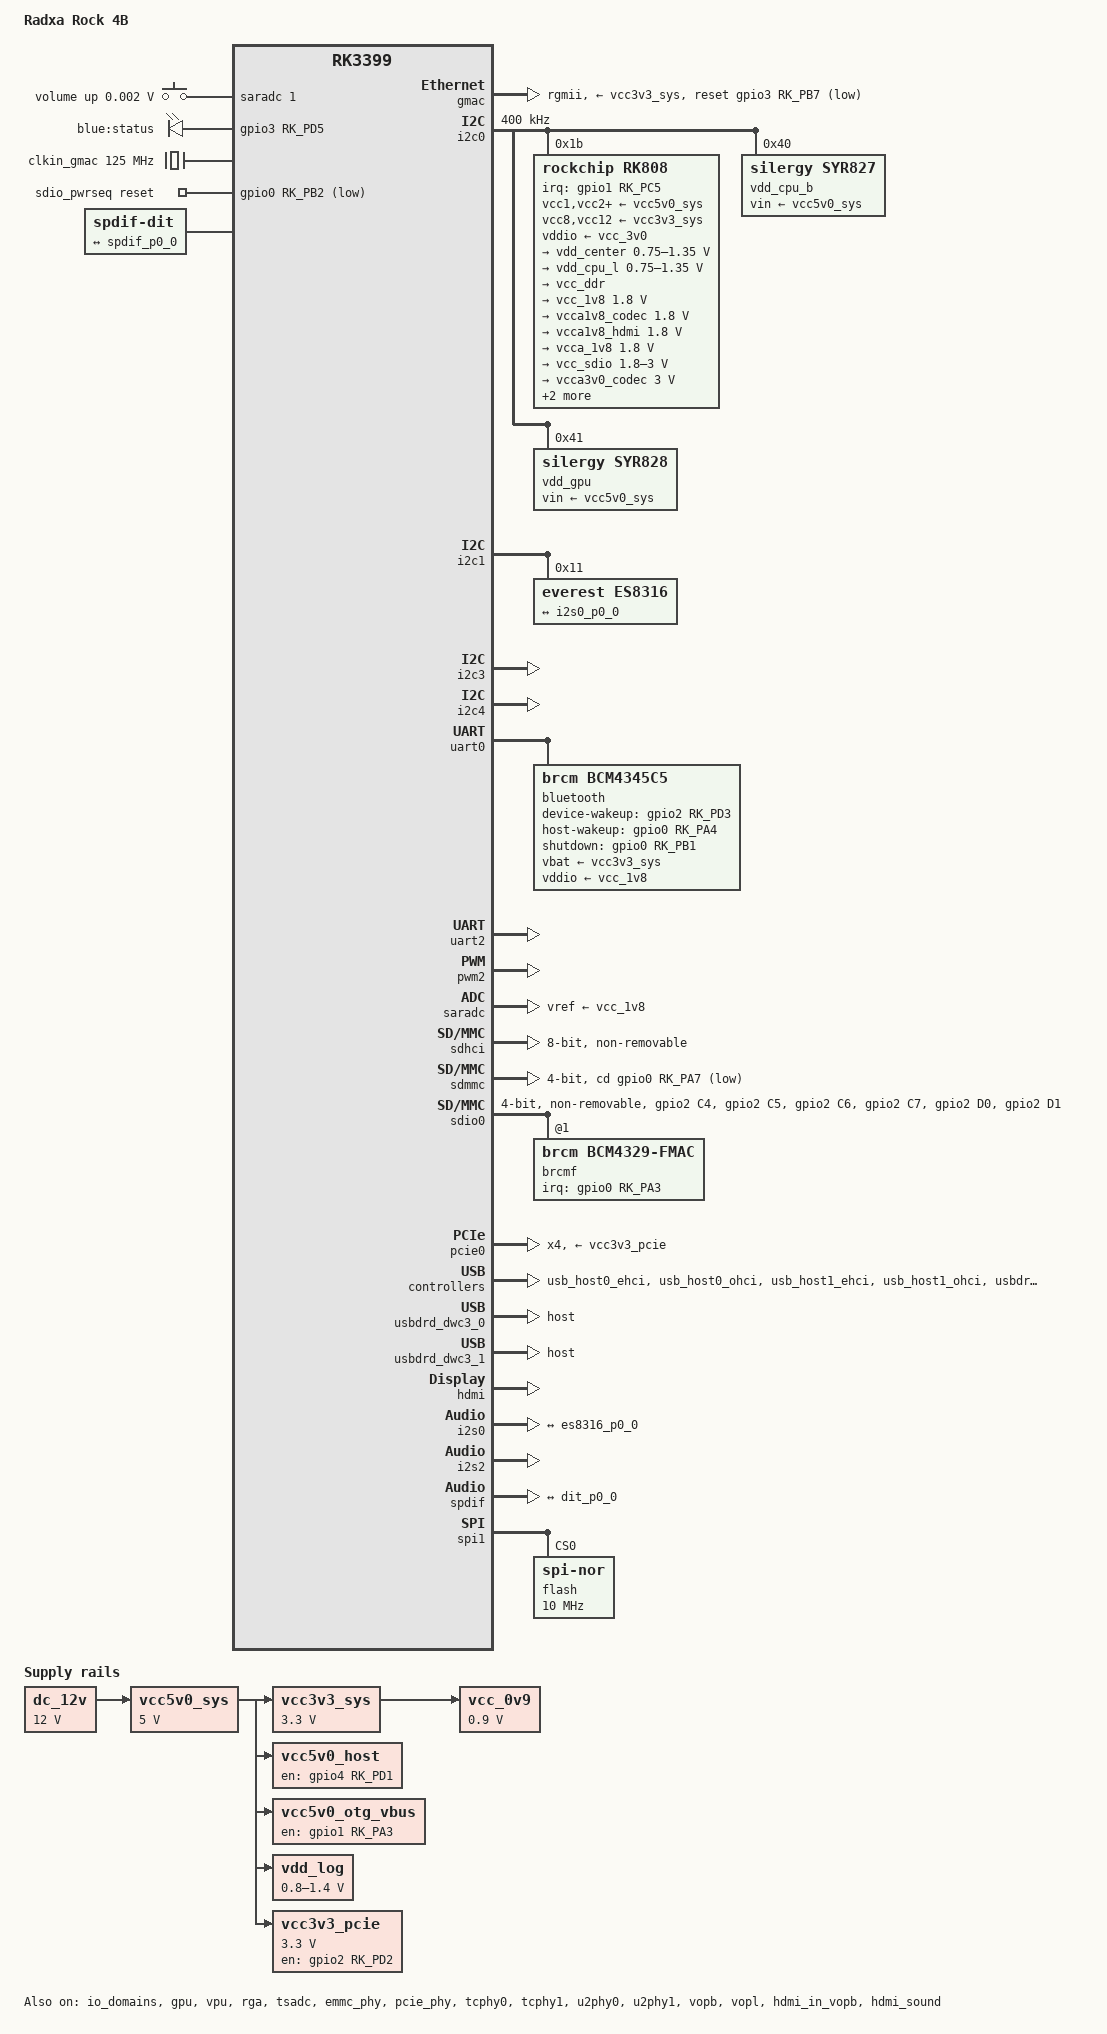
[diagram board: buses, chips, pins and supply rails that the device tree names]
// SPDX-License-Identifier: (GPL-2.0+ OR MIT)
/*
 * Copyright (C) 2025 kaixinos <kaixinos@outlook.com>
 */

/dts-v1/;
#include <dt-bindings/input/linux-event-codes.h>
#include <dt-bindings/leds/common.h>
#include <dt-bindings/pwm/pwm.h>
#include "rk3399.dtsi"
#include "rk3399-opp.dtsi"

/ {
	model = "Radxa Rock 4B";
	compatible = "radxa,rock-4b", "rockchip,rk3399";

	aliases {
		ethernet0 = &gmac;
		mmc0 = &sdio0;
		mmc1 = &sdmmc;
		mmc2 = &sdhci;
	};

	chosen {
		stdout-path = "serial2:1500000n8";
	};

	dc_12v: dc-12v {
		compatible = "regulator-fixed";
		regulator-name = "dc_12v";
		regulator-always-on;
		regulator-boot-on;
		regulator-min-microvolt = <12000000>;
		regulator-max-microvolt = <12000000>;
	};

	vcc5v0_sys: vcc5v0-sys {
		compatible = "regulator-fixed";
		regulator-name = "vcc5v0_sys";
		regulator-always-on;
		regulator-boot-on;
		regulator-min-microvolt = <5000000>;
		regulator-max-microvolt = <5000000>;
		vin-supply = <&dc_12v>;
	};

	vcc3v3_sys: vcc3v3-sys {
		compatible = "regulator-fixed";
		regulator-name = "vcc3v3_sys";
		regulator-always-on;
		regulator-boot-on;
		regulator-min-microvolt = <3300000>;
		regulator-max-microvolt = <3300000>;
		vin-supply = <&vcc5v0_sys>;
	};

	vcc5v0_host: vcc5v0-host-regulator {
		compatible = "regulator-fixed";
		regulator-name = "vcc5v0_host";
		enable-active-high;
		gpio = <&gpio4 RK_PD1 GPIO_ACTIVE_HIGH>;
		pinctrl-names = "default";
		pinctrl-0 = <&vcc5v0_host_en>;
		regulator-always-on;
		vin-supply = <&vcc5v0_sys>;
	};

	vcc5v0_otg_vbus: vcc5v0-otg-vbus {
		compatible = "regulator-fixed";
		regulator-name = "vcc5v0_otg_vbus";
		regulator-always-on;
		enable-active-high;
		gpio = <&gpio1 RK_PA3 GPIO_ACTIVE_HIGH>;
		pinctrl-names = "default";
		pinctrl-0 = <&vcc5v0_otg_vbus_en>;
		vin-supply = <&vcc5v0_sys>;
	};

	vdd_log: vdd-log {
		compatible = "pwm-regulator";
		pwms = <&pwm2 0 25000 1>;
		regulator-name = "vdd_log";
		regulator-always-on;
		regulator-boot-on;
		regulator-min-microvolt = <800000>;
		regulator-max-microvolt = <1400000>;
		vin-supply = <&vcc5v0_sys>;
	};

	vcc3v3_pcie: vcc3v3-pcie-regulator {
		compatible = "regulator-fixed";
		enable-active-high;
		gpio = <&gpio2 RK_PD2 GPIO_ACTIVE_HIGH>;
		pinctrl-names = "default";
		pinctrl-0 = <&pcie_pwr_en>;
		regulator-name = "vcc3v3_pcie";
		regulator-always-on;
		regulator-boot-on;
		regulator-min-microvolt = <3300000>;
		regulator-max-microvolt = <3300000>;
		vin-supply = <&vcc5v0_sys>;
	};

	vcc_0v9: vcc-0v9 {
		compatible = "regulator-fixed";
		regulator-name = "vcc_0v9";
		regulator-always-on;
		regulator-boot-on;
		regulator-min-microvolt = <900000>;
		regulator-max-microvolt = <900000>;
		vin-supply = <&vcc3v3_sys>;
	};

	adc-keys {
		compatible = "adc-keys";
		io-channels = <&saradc 1>;
		io-channel-names = "buttons";
		keyup-threshold-microvolt = <1800000>;
		poll-interval = <100>;

		vol-up-key {
			label = "volume up";
			linux,code = <KEY_VOLUMEUP>;
			press-threshold-microvolt = <1750>;
		};
	};

	leds {
		compatible = "gpio-leds";
		pinctrl-names = "default";
		pinctrl-0 = <&user_led2>;

		/* USER_LED2 */
		led-0 {
			label = "blue:status";
			gpios = <&gpio3 RK_PD5 GPIO_ACTIVE_HIGH>;
			default-state = "on";
			linux,default-trigger = "heartbeat";
		};
	};

	clkin_gmac: external-gmac-clock {
		compatible = "fixed-clock";
		clock-frequency = <125000000>;
		clock-output-names = "clkin_gmac";
		#clock-cells = <0>;
	};

	sdio_pwrseq: sdio-pwrseq {
		compatible = "mmc-pwrseq-simple";
		clocks = <&rk808 1>;
		clock-names = "lpo";
		pinctrl-names = "default";
		pinctrl-0 = <&wifi_enable_h>;

		/*
		 * On the module itself this is one of these (depending
		 * on the actual card populated):
		 * - SDIO_RESET_L_WL_REG_ON
		 * - PDN (power down when low)
		 */
		reset-gpios = <&gpio0 RK_PB2 GPIO_ACTIVE_LOW>;
	};

	sound: sound {
		compatible = "audio-graph-card";
		label = "Analog";
		dais = <&i2s0_p0>;
	};

	sound-dit {
		compatible = "audio-graph-card";
		label = "SPDIF";
		dais = <&spdif_p0>;
	};

	spdif-dit {
		compatible = "linux,spdif-dit";
		#sound-dai-cells = <0>;

		port {
			dit_p0_0: endpoint {
				remote-endpoint = <&spdif_p0_0>;
			};
		};
	};
};

&io_domains {
	status = "okay";

	bt656-supply = <&vcc_3v0>;		/* APIO2_VDD */
	audio-supply = <&vcc_3v0>;		/* APIO5_VDD */
	sdmmc-supply = <&vcc_sdio>;		/* SDMMC0_VDD */
	gpio1830-supply = <&vcc_3v0>;		/* APIO4_VDD */
};

&pmu_io_domains {
	status = "okay";

	pmu1830-supply = <&vcc_3v0>;		/* PMUIO2_VDD */
};

&cpu_l0 {
	cpu-supply = <&vdd_cpu_l>;
};

&cpu_l1 {
	cpu-supply = <&vdd_cpu_l>;
};

&cpu_l2 {
	cpu-supply = <&vdd_cpu_l>;
};

&cpu_l3 {
	cpu-supply = <&vdd_cpu_l>;
};

&cpu_b0 {
	cpu-supply = <&vdd_cpu_b>;
};

&cpu_b1 {
	cpu-supply = <&vdd_cpu_b>;
};

&gpu {
	mali-supply = <&vdd_gpu>;
	status = "okay";
};

&vpu {
	status = "okay";
};

&rga {
	status = "okay";
};

&gmac {
	assigned-clock-parents = <&clkin_gmac>;
	assigned-clocks = <&cru SCLK_RMII_SRC>;
	clock_in_out = "input";
	phy-supply = <&vcc3v3_sys>;
	phy-mode = "rgmii";
	pinctrl-names = "default";
	pinctrl-0 = <&rgmii_pins>;
	snps,reset-gpio = <&gpio3 RK_PB7 GPIO_ACTIVE_LOW>;
	snps,reset-active-low;
	snps,reset-delays-us = <0 10000 50000>;
	tx_delay = <0x28>;
	rx_delay = <0x11>;
	status = "okay";
};

&i2c0 {
	clock-frequency = <400000>;
	i2c-scl-rising-time-ns = <168>;
	i2c-scl-falling-time-ns = <4>;
	status = "okay";

	rk808: pmic@1b {
		compatible = "rockchip,rk808";
		reg = <0x1b>;
		interrupt-parent = <&gpio1>;
		interrupts = <RK_PC5 IRQ_TYPE_LEVEL_LOW>;
		#clock-cells = <1>;
		clock-output-names = "xin32k", "rk808-clkout2";
		pinctrl-names = "default";
		pinctrl-0 = <&pmic_int_l>;
		rockchip,system-power-controller;
		wakeup-source;

		vcc1-supply = <&vcc5v0_sys>;
		vcc2-supply = <&vcc5v0_sys>;
		vcc3-supply = <&vcc5v0_sys>;
		vcc4-supply = <&vcc5v0_sys>;
		vcc6-supply = <&vcc5v0_sys>;
		vcc7-supply = <&vcc5v0_sys>;
		vcc8-supply = <&vcc3v3_sys>;
		vcc9-supply = <&vcc5v0_sys>;
		vcc10-supply = <&vcc5v0_sys>;
		vcc11-supply = <&vcc5v0_sys>;
		vcc12-supply = <&vcc3v3_sys>;
		vddio-supply = <&vcc_3v0>;

		regulators {
			vdd_center: DCDC_REG1 {
				regulator-name = "vdd_center";
				regulator-always-on;
				regulator-boot-on;
				regulator-min-microvolt = <750000>;
				regulator-max-microvolt = <1350000>;
				regulator-ramp-delay = <6001>;

				regulator-state-mem {
					regulator-off-in-suspend;
				};
			};

			vdd_cpu_l: DCDC_REG2 {
				regulator-name = "vdd_cpu_l";
				regulator-always-on;
				regulator-boot-on;
				regulator-min-microvolt = <750000>;
				regulator-max-microvolt = <1350000>;
				regulator-ramp-delay = <6001>;

				regulator-state-mem {
					regulator-off-in-suspend;
				};
			};

			vcc_ddr: DCDC_REG3 {
				regulator-name = "vcc_ddr";
				regulator-always-on;
				regulator-boot-on;

				regulator-state-mem {
					regulator-on-in-suspend;
				};
			};

			vcc_1v8: DCDC_REG4 {
				regulator-name = "vcc_1v8";
				regulator-always-on;
				regulator-boot-on;
				regulator-min-microvolt = <1800000>;
				regulator-max-microvolt = <1800000>;

				regulator-state-mem {
					regulator-on-in-suspend;
					regulator-suspend-microvolt = <1800000>;
				};
			};

			vcca1v8_codec: LDO_REG1 {
				regulator-name = "vcca1v8_codec";
				regulator-always-on;
				regulator-boot-on;
				regulator-min-microvolt = <1800000>;
				regulator-max-microvolt = <1800000>;

				regulator-state-mem {
					regulator-off-in-suspend;
				};
			};

			vcca1v8_hdmi: LDO_REG2 {
				regulator-name = "vcca1v8_hdmi";
				regulator-always-on;
				regulator-boot-on;
				regulator-min-microvolt = <1800000>;
				regulator-max-microvolt = <1800000>;

				regulator-state-mem {
					regulator-off-in-suspend;
				};
			};

			vcca_1v8: LDO_REG3 {
				regulator-name = "vcca_1v8";
				regulator-always-on;
				regulator-boot-on;
				regulator-min-microvolt = <1800000>;
				regulator-max-microvolt = <1800000>;

				regulator-state-mem {
					regulator-on-in-suspend;
					regulator-suspend-microvolt = <1800000>;
				};
			};

			vcc_sdio: LDO_REG4 {
				regulator-name = "vcc_sdio";
				regulator-always-on;
				regulator-boot-on;
				regulator-min-microvolt = <1800000>;
				regulator-max-microvolt = <3000000>;

				regulator-state-mem {
					regulator-on-in-suspend;
					regulator-suspend-microvolt = <3000000>;
				};
			};

			vcca3v0_codec: LDO_REG5 {
				regulator-name = "vcca3v0_codec";
				regulator-always-on;
				regulator-boot-on;
				regulator-min-microvolt = <3000000>;
				regulator-max-microvolt = <3000000>;

				regulator-state-mem {
					regulator-off-in-suspend;
				};
			};

			vcc_1v5: LDO_REG6 {
				regulator-name = "vcc_1v5";
				regulator-always-on;
				regulator-boot-on;
				regulator-min-microvolt = <1500000>;
				regulator-max-microvolt = <1500000>;

				regulator-state-mem {
					regulator-on-in-suspend;
					regulator-suspend-microvolt = <1500000>;
				};
			};

			vcca0v9_hdmi: LDO_REG7 {
				regulator-name = "vcca0v9_hdmi";
				regulator-always-on;
				regulator-boot-on;
				regulator-min-microvolt = <900000>;
				regulator-max-microvolt = <900000>;

				regulator-state-mem {
					regulator-off-in-suspend;
				};
			};

			vcc_3v0: LDO_REG8 {
				regulator-name = "vcc_3v0";
				regulator-always-on;
				regulator-boot-on;
				regulator-min-microvolt = <3000000>;
				regulator-max-microvolt = <3000000>;

				regulator-state-mem {
					regulator-on-in-suspend;
					regulator-suspend-microvolt = <3000000>;
				};
			};

			vcc_cam: SWITCH_REG1 {
				regulator-name = "vcc_cam";
				regulator-always-on;
				regulator-boot-on;

				regulator-state-mem {
					regulator-off-in-suspend;
				};
			};

			vcc_mipi: SWITCH_REG2 {
				regulator-name = "vcc_mipi";
				regulator-always-on;
				regulator-boot-on;

				regulator-state-mem {
					regulator-off-in-suspend;
				};
			};
		};
	};

	vdd_cpu_b: regulator@40 {
		compatible = "silergy,syr827";
		reg = <0x40>;
		fcs,suspend-voltage-selector = <1>;
		pinctrl-names = "default";
		pinctrl-0 = <&vsel1_pin>;
		regulator-name = "vdd_cpu_b";
		regulator-min-microvolt = <712500>;
		regulator-max-microvolt = <1500000>;
		regulator-ramp-delay = <1000>;
		regulator-always-on;
		regulator-boot-on;
		vin-supply = <&vcc5v0_sys>;

		regulator-state-mem {
			regulator-off-in-suspend;
		};
	};

	vdd_gpu: regulator@41 {
		compatible = "silergy,syr828";
		reg = <0x41>;
		fcs,suspend-voltage-selector = <1>;
		pinctrl-names = "default";
		pinctrl-0 = <&vsel2_pin>;
		regulator-name = "vdd_gpu";
		regulator-min-microvolt = <712500>;
		regulator-max-microvolt = <1500000>;
		regulator-ramp-delay = <1000>;
		regulator-always-on;
		regulator-boot-on;
		vin-supply = <&vcc5v0_sys>;

		regulator-state-mem {
			regulator-off-in-suspend;
		};
	};
};

&i2c1 {
	i2c-scl-rising-time-ns = <300>;
	i2c-scl-falling-time-ns = <15>;
	status = "okay";

	es8316: codec@11 {
		compatible = "everest,es8316";
		reg = <0x11>;
		clocks = <&cru SCLK_I2S_8CH_OUT>;
		clock-names = "mclk";
		#sound-dai-cells = <0>;

		port {
			es8316_p0_0: endpoint {
				remote-endpoint = <&i2s0_p0_0>;
			};
		};
	};
};

&i2c3 {
	i2c-scl-rising-time-ns = <450>;
	i2c-scl-falling-time-ns = <15>;
	status = "okay";
};

&i2c4 {
	i2c-scl-rising-time-ns = <600>;
	i2c-scl-falling-time-ns = <20>;
	status = "okay";
};

&uart0 {
	status = "okay";
	pinctrl-names = "default";
	pinctrl-0 = <&uart0_xfer &uart0_cts &uart0_rts>;

	bluetooth {
		compatible = "brcm,bcm4345c5";
		clocks = <&rk808 1>;
		clock-names = "lpo";
		device-wakeup-gpios = <&gpio2 RK_PD3 GPIO_ACTIVE_HIGH>;
		host-wakeup-gpios = <&gpio0 RK_PA4 GPIO_ACTIVE_HIGH>;
		shutdown-gpios = <&gpio0 RK_PB1 GPIO_ACTIVE_HIGH>;
		max-speed = <1500000>;
		pinctrl-names = "default";
		pinctrl-0 = <&bt_enable_h &bt_wake_l &bt_host_wake_l>;
		vbat-supply = <&vcc3v3_sys>;
		vddio-supply = <&vcc_1v8>;
	};
};

&uart2 {
	status = "okay";
};

&pwm0 {
	status = "disabled";
};

&pwm2 {
	status = "okay";
};

&saradc {
	status = "okay";
	vref-supply = <&vcc_1v8>;
};

&tsadc {
	status = "okay";

	/* tshut mode 0:CRU 1:GPIO */
	rockchip,hw-tshut-mode = <1>;
	/* tshut polarity 0:LOW 1:HIGH */
	rockchip,hw-tshut-polarity = <1>;
};

&emmc_phy {
	status = "okay";
};

&sdhci {
	//max-frequency = <150000000>;
	bus-width = <8>;
	mmc-hs200-1_8v;
	non-removable;
	status = "okay";
};

&sdmmc {
	clock-frequency = <150000000>;
	max-frequency = <150000000>;
	bus-width = <4>;
	cap-mmc-highspeed;
	cap-sd-highspeed;
	disable-wp;
	sd-uhs-sdr104;
	pinctrl-names = "default";
	pinctrl-0 = <&sdmmc_clk &sdmmc_cmd &sdmmc_bus4 &sdmmc_cd>;
	cd-gpios = <&gpio0 RK_PA7 GPIO_ACTIVE_LOW>;
	vqmmc-supply = <&vcc_sdio>;
	status = "okay";
};

&sdio0 {
	#address-cells = <1>;
	#size-cells = <0>;

	clock-frequency = <50000000>;
	bus-width = <4>;
	cap-sdio-irq;
	cap-sd-highspeed;
	keep-power-in-suspend;
	mmc-pwrseq = <&sdio_pwrseq>;
	non-removable;
	pinctrl-names = "default";
	pinctrl-0 = <&sdio0_bus4 &sdio0_cmd &sdio0_clk>;
	sd-uhs-sdr104;
	status = "okay";

	brcmf: wifi@1 {
		compatible = "brcm,bcm4329-fmac";
		reg = <1>;
		interrupt-parent = <&gpio0>;
		interrupts = <RK_PA3 IRQ_TYPE_LEVEL_HIGH>;
		interrupt-names = "host-wake";
		pinctrl-names = "default";
		pinctrl-0 = <&wifi_host_wake_l>;
	};
};

&pcie_phy {
	status = "okay";
};

&pcie0 {
	ep-gpios = <&gpio4 RK_PD3 GPIO_ACTIVE_HIGH>;
	num-lanes = <4>;
	pinctrl-0 = <&pcie_clkreqnb_cpm>;
	pinctrl-names = "default";
	vpcie12v-supply = <&dc_12v>;
	vpcie0v9-supply = <&vcc_0v9>;
	vpcie1v8-supply = <&vcc_1v8>;
	vpcie3v3-supply = <&vcc3v3_pcie>;
	bus-scan-delay-ms = <1500>;
	status = "okay";
};

&cdn_dp {
	status = "disabled";
};

&tcphy0 {
	status = "okay";
};

&tcphy1 {
	status = "okay";
};

&u2phy0 {
	status = "okay";

	u2phy0_otg: otg-port {
		status = "okay";
	};

	u2phy0_host: host-port {
		phy-supply = <&vcc5v0_host>;
		status = "okay";
	};
};

&u2phy1 {
	status = "okay";

	u2phy1_otg: otg-port {
		status = "okay";
	};

	u2phy1_host: host-port {
		phy-supply = <&vcc5v0_host>;
		status = "okay";
	};
};

&usb_host0_ehci {
	status = "okay";
};

&usb_host0_ohci {
	status = "okay";
};

&usb_host1_ehci {
	status = "okay";
};

&usb_host1_ohci {
	status = "okay";
};

&usbdrd3_0 {
	status = "okay";
};

&usbdrd_dwc3_0 {
	status = "okay";
	dr_mode = "host";
};

&usbdrd3_1 {
	status = "okay";
};

&usbdrd_dwc3_1 {
	status = "okay";
	dr_mode = "host";
};

&vopb {
	status = "okay";
};

&vopb_mmu {
	status = "okay";
};

&vopl {
	status = "okay";
};

&vopl_mmu {
	status = "okay";
};

&hdmi {
	avdd-0v9-supply = <&vcca0v9_hdmi>;
	avdd-1v8-supply = <&vcca1v8_hdmi>;
	ddc-i2c-bus = <&i2c3>;
	pinctrl-names = "default";
	pinctrl-0 = <&hdmi_cec>;
	status = "okay";
};

&hdmi_in_vopb {
	status = "okay";
};

&hdmi_in_vopl {
	status = "disabled";
};

&hdmi_sound {
	status = "okay";
};

&i2s0 {
	pinctrl-0 = <&i2s0_2ch_bus>;
	pinctrl-1 = <&i2s0_2ch_bus_bclk_off>;
	rockchip,capture-channels = <2>;
	rockchip,playback-channels = <2>;
	status = "okay";

	i2s0_p0: port {
		i2s0_p0_0: endpoint {
			dai-format = "i2s";
			mclk-fs = <256>;
			remote-endpoint = <&es8316_p0_0>;
		};
	};
};

&i2s1 {
	status = "disabled";
};

&i2s2 {
	status = "okay";
};

&spdif {
	spdif_p0: port {
		spdif_p0_0: endpoint {
			remote-endpoint = <&dit_p0_0>;
		};
	};
};

&spi1 {
	status = "okay";

	flash@0 {
		compatible = "jedec,spi-nor";
		reg = <0>;
		spi-max-frequency = <10000000>;
	};
};

&pinctrl {
	pmic {
		pmic_int_l: pmic-int-l {
			rockchip,pins =
				<1 RK_PC5 RK_FUNC_GPIO &pcfg_pull_up>;
		};

		vsel1_pin: vsel1-pin {
			rockchip,pins =
				<1 RK_PC1 RK_FUNC_GPIO &pcfg_pull_down>;
		};

		vsel2_pin: vsel2-pin {
			rockchip,pins =
				<1 RK_PB6 RK_FUNC_GPIO &pcfg_pull_down>;
		};
	};

	usb2 {
		vcc5v0_host_en: vcc5v0-host-en {
			rockchip,pins =
				<4 RK_PD1 RK_FUNC_GPIO &pcfg_pull_none>;
		};
	};

	usb3 {
		vcc5v0_otg_vbus_en: vcc5v0-otg-vbus-en {
			rockchip,pins =
				<1 RK_PA3 RK_FUNC_GPIO &pcfg_pull_up>;
		};
	};

	leds {
		user_led2: user-led2 {
			rockchip,pins =
				<3 RK_PD5 RK_FUNC_GPIO &pcfg_pull_none>;
		};
	};

	wifi {
		wifi_enable_h: wifi-enable-h {
			rockchip,pins =
				<0 RK_PB2 RK_FUNC_GPIO &pcfg_pull_none>;
		};

		wifi_host_wake_l: wifi-host-wake-l {
			rockchip,pins =
				<0 RK_PA3 RK_FUNC_GPIO &pcfg_pull_none>;
		};
	};

	bt {
		bt_enable_h: bt-enable-h {
			rockchip,pins =
				<0 RK_PB1 RK_FUNC_GPIO &pcfg_pull_none>;
		};

		bt_wake_l: bt-wake-l {
			rockchip,pins =
				<2 RK_PD3 RK_FUNC_GPIO &pcfg_pull_none>;
		};

		bt_host_wake_l: bt-host-wake-l {
			rockchip,pins =
				<0 RK_PA4 RK_FUNC_GPIO &pcfg_pull_none>;
		};
	};

	pcie {
		pcie_pwr_en: pcie-pwr-en {
			rockchip,pins =
				<2 RK_PD2 RK_FUNC_GPIO &pcfg_pull_none>;
		};
	};

	sdio0 {
		sdio0_bus4: sdio0-bus4 {
			rockchip,pins =
				<2 RK_PC4 1 &pcfg_pull_up_20ma>,
				<2 RK_PC5 1 &pcfg_pull_up_20ma>,
				<2 RK_PC6 1 &pcfg_pull_up_20ma>,
				<2 RK_PC7 1 &pcfg_pull_up_20ma>;
		};

		sdio0_cmd: sdio0-cmd {
			rockchip,pins =
				<2 RK_PD0 1 &pcfg_pull_up_20ma>;
		};

		sdio0_clk: sdio0-clk {
			rockchip,pins =
				<2 RK_PD1 1 &pcfg_pull_none_20ma>;
		};
	};


	es8316 {
		hp_detect: hp-detect {
			rockchip,pins =
				<1 RK_PA0 RK_FUNC_GPIO &pcfg_pull_none>;
		};

		hp_int: hp-int {
			rockchip,pins =
				<1 RK_PA1 RK_FUNC_GPIO &pcfg_pull_up>;
		};
	};
};
